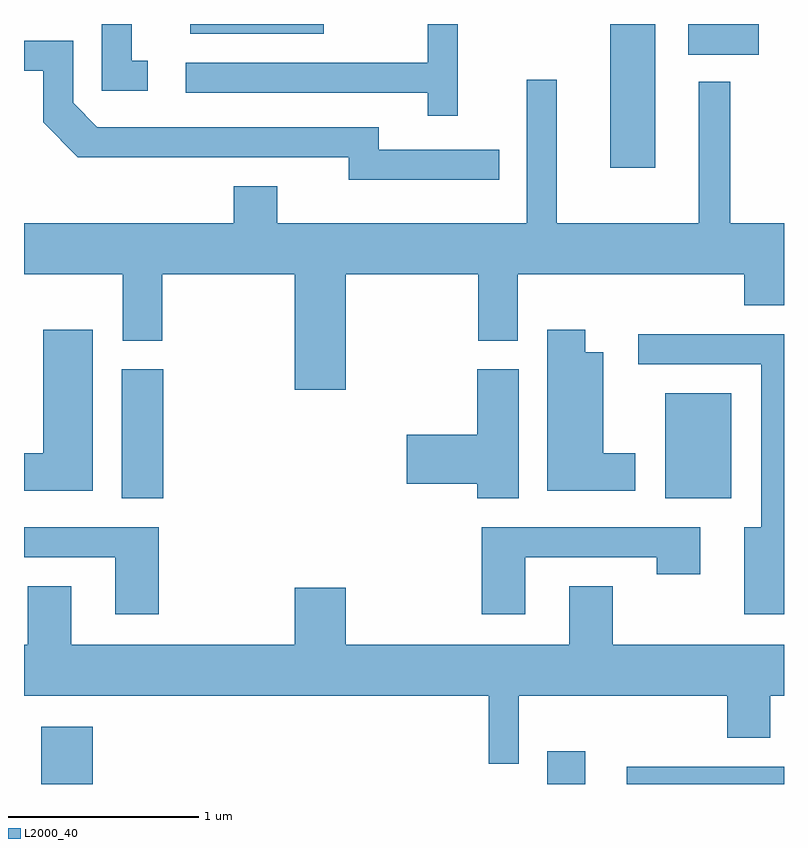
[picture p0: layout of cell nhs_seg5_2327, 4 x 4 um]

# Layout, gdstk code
import gdstk
lib = gdstk.Library(unit=1e-6, precision=1e-09)
def R(c, l, rs):  # rectangles x0, y0, x1, y1
    for r in rs: c.add(gdstk.rectangle(r[:2], r[2:], *l))
def P(c, l, *ps):  # polygons
    for p in ps: c.add(gdstk.Polygon(p, *l))
L2000_40 = (2000, 40)

nhs_seg5_2327 = lib.new_cell('nhs_seg5_2327')
R(nhs_seg5_2327, L2000_40, [(253.701,1494.072,253.974,1494.374), (256.366,1494.072,256.564,1494.244), (256.783,1494.072,257.611,1494.164), (254.126,1495.576,254.344,1496.254), (256.986,1495.576,257.334,1496.129), (256.696,1497.316,256.934,1498.072), (257.106,1497.911,257.479,1498.072), (254.486,1498.021,255.188,1498.072)])
P(nhs_seg5_2327, L2000_40, [(255.894,1498.072),(255.736,1498.072),(255.736,1497.869),(254.463,1497.869),(254.463,1497.711),(255.736,1497.711),(255.736,1497.588),(255.894,1497.588)],
  [(254.263,1497.879),(254.179,1497.879),(254.179,1498.072),(254.021,1498.072),(254.021,1497.721),(254.263,1497.721)],
  [(256.113,1497.409),(255.479,1497.409),(255.479,1497.529),(253.997,1497.529),(253.869,1497.657),(253.869,1497.984),(253.611,1497.984),(253.611,1497.826),(253.711,1497.826),(253.711,1497.554),(253.894,1497.371),(255.321,1497.371),(255.321,1497.251),(256.113,1497.251)],
  [(255.304,1496.756),(256.001,1496.756),(256.001,1496.406),(256.209,1496.406),(256.209,1496.756),(257.401,1496.756),(257.401,1496.591),(257.611,1496.591),(257.611,1497.024),(257.329,1497.024),(257.329,1497.768),(257.161,1497.768),(257.161,1497.024),(256.414,1497.024),(256.414,1497.778),(256.256,1497.778),(256.256,1497.024),(254.944,1497.024),(254.944,1497.219),(254.716,1497.219),(254.716,1497.024),(253.611,1497.024),(253.611,1496.756),(254.131,1496.756),(254.131,1496.406),(254.339,1496.406),(254.339,1496.756),(255.036,1496.756),(255.036,1496.146),(255.304,1496.146)],
  [(253.974,1496.464),(253.711,1496.464),(253.711,1495.814),(253.611,1495.814),(253.611,1495.616),(253.974,1495.616)],
  [(256.829,1495.814),(256.659,1495.814),(256.659,1496.344),(256.564,1496.344),(256.564,1496.464),(256.366,1496.464),(256.366,1495.616),(256.829,1495.616)],
  [(257.611,1496.439),(256.843,1496.439),(256.843,1496.281),(257.491,1496.281),(257.491,1495.424),(257.401,1495.424),(257.401,1494.966),(257.611,1494.966)],
  [(256.214,1496.254),(255.996,1496.254),(255.996,1495.909),(255.626,1495.909),(255.626,1495.651),(255.996,1495.651),(255.996,1495.576),(256.214,1495.576)],
  [(254.319,1495.424),(253.611,1495.424),(253.611,1495.266),(254.091,1495.266),(254.091,1494.966),(254.319,1494.966)],
  [(256.249,1495.266),(256.941,1495.266),(256.941,1495.176),(257.169,1495.176),(257.169,1495.424),(256.021,1495.424),(256.021,1494.966),(256.249,1494.966)],
  [(256.214,1494.536),(257.311,1494.536),(257.311,1494.316),(257.539,1494.316),(257.539,1494.536),(257.611,1494.536),(257.611,1494.804),(256.709,1494.804),(256.709,1495.114),(256.481,1495.114),(256.481,1494.804),(255.304,1494.804),(255.304,1495.104),(255.036,1495.104),(255.036,1494.804),(253.859,1494.804),(253.859,1495.114),(253.631,1495.114),(253.631,1494.804),(253.611,1494.804),(253.611,1494.536),(256.056,1494.536),(256.056,1494.178),(256.214,1494.178)])

lib.write_gds('nhs_seg5_2327.gds')
